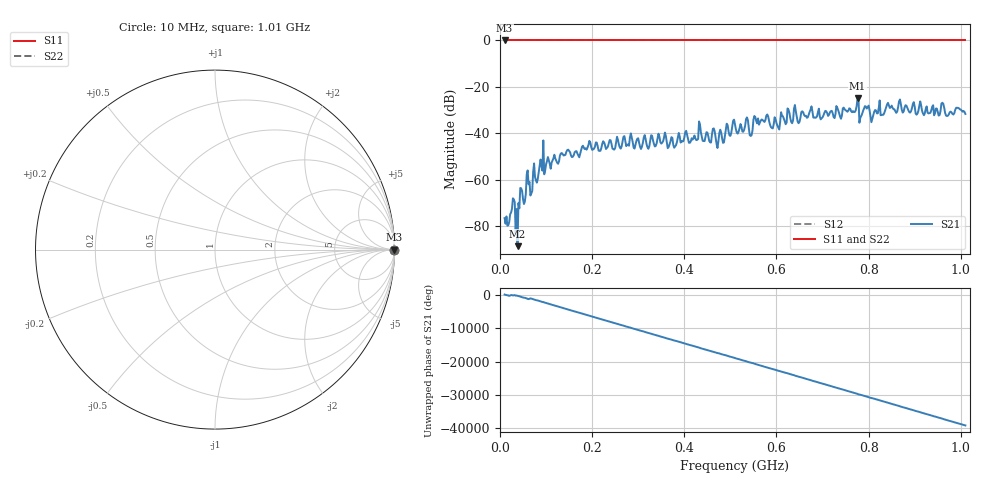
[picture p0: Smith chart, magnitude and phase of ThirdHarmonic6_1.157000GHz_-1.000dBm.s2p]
! 8/16/2025 11:33:43 AM
! C:\ANRITSUVNA\TEMP\TEMP.S2P
! CHANNEL.1
! TR.MEASUREMENT
! RAW.DATA
! RF.CORRECTION.OFF
! AVERAGING.OFF
! IF.BANDWIDTH: 5KHZ
! SWEEPTYPE:  FREQ.SWEEP(Linear)
! Reference Plane Port Info
! PORT:  PORT1  PORT2
! DISTANCE:  0  m  0  m
! TIME:  0  s  0  s
! PHASE.OFFSET:  0  deg.  0  deg.
! LOSS:  0  dB  0  dB
! REF.LOSS:  0  dB  0  dB
! REF.FREQ:  0  Hz  0  Hz
! Power Info
! POWER:  -20  dBm  -20  dBm
! EFF.POWER:  -20  dBm  -20  dBm
! SOURCE.ATTEN:  0  dB  0  dB
! TEST.ATTEN:  0  dB  0  dB
# GHZ S RI R 50.0
! FREQ.GHZ  S11RE  S11IM  S21RE  S21IM  S12RE  S12IM  S22RE  S22IM
!; PortSelection: Port_12
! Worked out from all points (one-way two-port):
!   501 points, 10 MHz to 1.01 GHz, reference 50 ohm
!   highest |S21| = -24.87 dB at 776 MHz (marker M1); lowest = -88.7 dB at 38 MHz (marker M2)
!   lowest |S11| = 0.0 dB at 10 MHz (marker M3)
!   |S11| at or under -10 dB: nowhere
!   |S22| runs from 0.0 to 0.0 dB; largest |S21 - S12| = 1
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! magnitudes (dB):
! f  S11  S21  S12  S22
! 10 MHz  0.0  -76.6  0.0  0.0
! 20 MHz  0.0  -78.3  0.0  0.0
! 28 MHz  0.0  -68.0  0.0  0.0
! 38 MHz  0.0  -88.7  0.0  0.0
! 44 MHz  0.0  -63.6  0.0  0.0
! 52 MHz  0.0  -70.5  0.0  0.0
! 60 MHz  0.0  -56.0  0.0  0.0
! 66 MHz  0.0  -66.8  0.0  0.0
! 90 MHz  0.0  -54.0  0.0  0.0
! 178 MHz  0.0  -45.8  0.0  0.0
! 344 MHz  0.0  -40.2  0.0  0.0
! 380 MHz  0.0  -45.7  0.0  0.0
! 434 MHz  0.0  -36.2  0.0  0.0
! 472 MHz  0.0  -46.4  0.0  0.0
! 510 MHz  0.0  -36.2  0.0  0.0
! 544 MHz  0.0  -41.1  0.0  0.0
! 554 MHz  0.0  -33.0  0.0  0.0
! 678 MHz  0.0  -30.5  0.0  0.0
! 776 MHz  0.0  -24.9  0.0  0.0
! 808 MHz  0.0  -33.7  0.0  0.0
! 844 MHz  0.0  -28.0  0.0  0.0
! 1.01 GHz  0.0  -31.7  0.0  0.0
